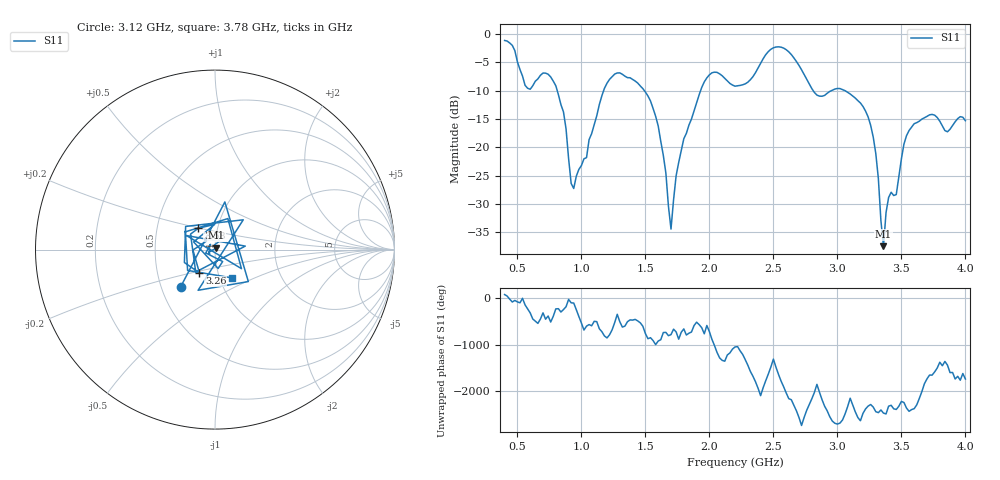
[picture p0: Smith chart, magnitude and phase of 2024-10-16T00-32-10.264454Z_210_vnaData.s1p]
! Created with skrf (http://scikit-rf.org).
# Hz S RI R 50.0
!freq ReS11 ImS11
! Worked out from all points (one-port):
!   181 points, 400 MHz to 4 GHz, reference 50 ohm
!   lowest |S11| = -37.4 dB at 3.36 GHz (marker M1), VSWR 1.03, Z = 50.8 + j1.08 ohm
!   |S11| at or under -10 dB: 810.8 MHz to 1.174 GHz (363.2 MHz wide, 36.6 % of centre); 1.491 GHz to 1.932 GHz (440.7 MHz wide, 25.8 % of centre); 3.057 GHz to end of sweep (the widest 3 of 4)
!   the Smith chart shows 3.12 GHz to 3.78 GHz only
!   S11 on the Smith chart (normalised r, x): 3.12 GHz: 0.63, -0.28; 3.26 GHz: 0.81, -0.22; 3.58 GHz: 0.81, +0.20; 3.78 GHz: 1.14, -0.37
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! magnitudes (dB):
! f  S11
! 400 MHz  -1.2
! 560 MHz  -9.1
! 740 MHz  -7.1
! 860 MHz  -13.8
! 920 MHz  -26.4
! 940 MHz  -27.3
! 1.18 GHz  -9.6
! 1.3 GHz  -6.9
! 1.58 GHz  -14.5
! 1.66 GHz  -24.6
! 1.7 GHz  -34.4
! 1.76 GHz  -22.7
! 1.98 GHz  -7.8
! 2.2 GHz  -9.2
! 2.5 GHz  -2.5
! 2.66 GHz  -4.3
! 2.84 GHz  -10.8
! 3.1 GHz  -10.6
! 3.12 GHz  -11.0
! 3.26 GHz  -16.1
! 3.3 GHz  -21.1
! 3.36 GHz  -37.4
! 3.4 GHz  -28.9
! 3.46 GHz  -28.3
! 3.56 GHz  -17.0
! 3.58 GHz  -16.4
! 3.78 GHz  -14.8
! 4 GHz  -15.3
